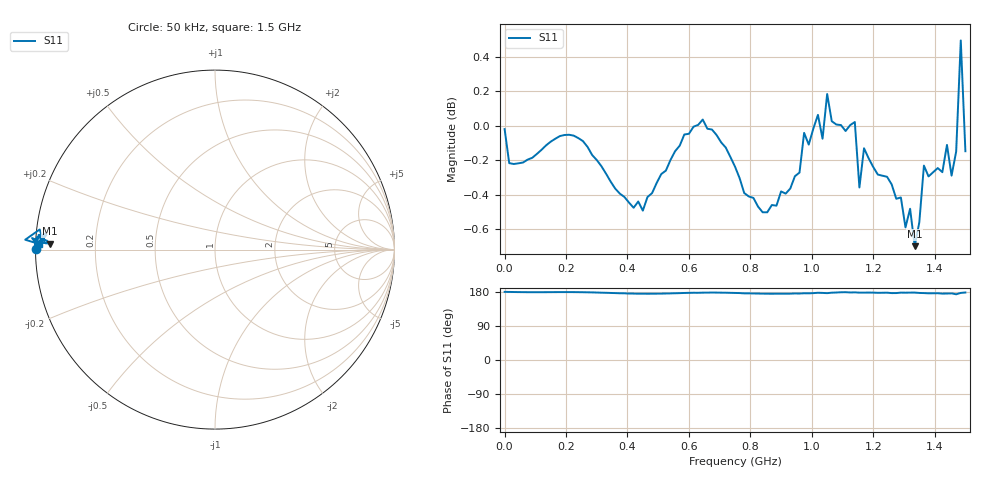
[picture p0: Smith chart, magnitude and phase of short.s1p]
! Created with skrf 1.8.0 (http://scikit-rf.org).
# Hz S RI R 50.0
!freq ReS11 ImS11
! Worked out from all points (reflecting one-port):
!   101 points, 50 kHz to 1.5 GHz, reference 50 ohm
!   lowest |S11| = -0.7 dB at 1.335 GHz (marker M1), VSWR 24.83, Z = 2.01 + j0.917 ohm
!   phase of S11 starts at 180 deg and turns -2 deg over the sweep
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50000  -0.9978 0.00335
3.0049e7  -0.9747 0.0104
1.950435e8  -0.9937 0.0137
3.750375e8  -0.9534 0.0645
4.50035e8  -0.9412 0.0817
5.70031e8  -0.9848 0.0612
6.450285e8  -1.003 0.0403
7.50025e8  -0.9716 0.0518
8.40022e8  -0.9403 0.0804
9.450185e8  -0.9639 0.075
1.020016e9  -1.006 0.0459
1.035016e9  -0.99 0.0518
1.050015e9  -1.019 0.0645
1.095014e9  -1 0.0221
1.125012e9  -0.9999 0.0317
1.140012e9  -1.002 0.0261
1.155012e9  -0.9588 0.038
1.170011e9  -0.9843 0.0374
1.260008e9  -0.9598 0.0577
1.320006e9  -0.9453 0.0356
1.335006e9  -0.9219 0.0339
1.365004e9  -0.9719 0.0583
1.425002e9  -0.966 0.0811
1.440002e9  -0.984 0.0803
1.455002e9  -0.9646 0.0705
1.470001e9  -0.9765 0.1122
1.485e9  -1.057 0.055
1.5e9  -0.9826 0.0321
